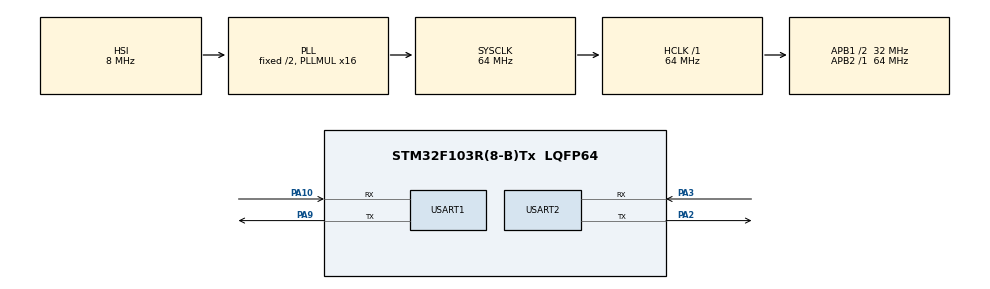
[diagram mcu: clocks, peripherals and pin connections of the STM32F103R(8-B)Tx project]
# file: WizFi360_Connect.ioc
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Mcu.Family=STM32F1
Mcu.Name=STM32F103R(8-B)Tx
Mcu.Package=LQFP64
NVIC.PriorityGroup=NVIC_PRIORITYGROUP_4
NVIC.USART1_IRQn=true\:0\:0\:false\:false\:true\:true\:true
NVIC.USART2_IRQn=true\:0\:0\:false\:false\:true\:true\:true
PA10.Mode=Asynchronous
PA10.Signal=USART1_RX
PA13.Mode=Serial_Wire
PA13.Signal=SYS_JTMS-SWDIO
PA14.Mode=Serial_Wire
PA14.Signal=SYS_JTCK-SWCLK
PA2.Mode=Asynchronous
PA2.Signal=USART2_TX
PA3.Mode=Asynchronous
PA3.Signal=USART2_RX
PA9.Mode=Asynchronous
PA9.Signal=USART1_TX
ProjectManager.HeapSize=0x200
ProjectManager.StackSize=0x400
ProjectManager.TargetToolchain=TrueSTUDIO
RCC.AHBFreq_Value=64000000
RCC.APB1CLKDivider=RCC_HCLK_DIV2
RCC.APB1Freq_Value=32000000
RCC.APB1TimFreq_Value=64000000
RCC.APB2Freq_Value=64000000
RCC.APB2TimFreq_Value=64000000
RCC.HCLKFreq_Value=64000000
RCC.PLLMUL=RCC_PLL_MUL16
RCC.SYSCLKFreq_VALUE=64000000
RCC.SYSCLKSource=RCC_SYSCLKSOURCE_PLLCLK
RCC.USBFreq_Value=64000000
USART1.VirtualMode=VM_ASYNC
USART2.VirtualMode=VM_ASYNC
board=custom

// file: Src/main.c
/* USER CODE BEGIN Header */
/**
  ******************************************************************************
  * @file           : main.c
  * @brief          : Main program body
  ******************************************************************************
  * @attention
  *
  * <h2><center>&copy; Copyright (c) 2019 STMicroelectronics.
  * All rights reserved.</center></h2>
  *
  * This software component is licensed by ST under BSD 3-Clause license,
  * the "License"; You may not use this file except in compliance with the
  * License. You may obtain a copy of the License at:
  *                        opensource.org/licenses/BSD-3-Clause
  *
  ******************************************************************************
  */
/* USER CODE END Header */

#include "main.h"

/* USER CODE BEGIN Includes */
#include "string.h"
#include "at_proc.h"
/* USER CODE END Includes */

UART_HandleTypeDef huart1;
UART_HandleTypeDef huart2;

void SystemClock_Config(void);
static void MX_GPIO_Init(void);
static void MX_USART1_UART_Init(void);
static void MX_USART2_UART_Init(void);
/* USER CODE BEGIN PFP */
uint8_t rxData;
//struct us_data US_2;
int _write(int fd, char *str, int len)
{
	for(int i=0; i<len; i++)
	{
		HAL_UART_Transmit(&huart2, (uint8_t *)&str[i], 1, 0xFFFF);
	}
	return len;
}

#if 0
void HAL_UART_RxCpltCallback(UART_HandleTypeDef *huart) {

    /*
        This will be called once data is received successfully,
        via interrupts.
    */

     /*
       loop back received data
     */

	if(huart->Instance == USART2)
	{
		HAL_UART_Receive_IT(&huart2, &rxData, 1);
		US_2.RX_Buffer[US_2.index++] = rxData;
		//HAL_UART_Transmit(&huart2, (uint8_t *)&rxData, 1, 0xFFFF);
		if(rxData == '\r')
		{
			US_2.flag = 1;
		}
	}
	else
	{
		//Not Valid port
	}

}
#endif
void send_U_message(uint8_t *data, uint16_t len)
{
  HAL_UART_Transmit(&huart1, data, len, 0xFFFF);
}
/* USER CODE END PFP */

int main(void)
{
  /* USER CODE BEGIN 1 */
	uint8_t main_seq = 0;
  uint8_t mode = 0, send_flag = 0, data_len;
  /* USER CODE END 1 */

  /* MCU Configuration--------------------------------------------------------*/

  /* Reset of all peripherals, Initializes the Flash interface and the Systick. */
  HAL_Init();

  /* Configure the system clock */
  SystemClock_Config();

  /* Initialize all configured peripherals */
  MX_GPIO_Init();
  MX_USART1_UART_Init();
  MX_USART2_UART_Init();
  /* USER CODE BEGIN 2 */
  HAL_UART_Receive_IT(&huart1, &rxData, 1);
  HAL_UART_Receive_IT(&huart2, &rxData, 1);
  //memset(&US_2, 0, sizeof(US_2));
  init_U2_data();
  printf("Hello !!\r\n");
  /* USER CODE END 2 */

  /* Infinite loop */
  /* USER CODE BEGIN WHILE */
  while (1)
  {
#if 0
	  if(US_2.flag)
	  {
		  HAL_UART_Transmit(&huart2, (uint8_t *)US_2.RX_Buffer, US_2.index, 0xFFFF);
		  printf("index : %d %s \r\n", US_2.index, US_2.RX_Buffer);
		  //memset(&US_2, 0, sizeof(US_2));
      send_flag = 1;
      US_2.flag = 0;
	  }
#endif
    //AT_Connect_Proc();
    switch(main_seq)
    {
      case 0:
        if(AT_AirKiss_Proc())
          main_seq++;
      break;
      case 1:
      #if 1 //test
    	  U2_flag();
      #endif
#if 0
      if(send_flag)
      {
        if()
        {
          US_2.index = 0;
          send_flag = 0;
        }
      }
      else
        data_Proc(0, 0, US_2.index, (uint8_t *)US_2.RX_Buffer);
#endif
      break;
      default :
      break;
    }

    /* USER CODE END WHILE */

  }
}

void SystemClock_Config(void)
{
  RCC_OscInitTypeDef RCC_OscInitStruct = {0};
  RCC_ClkInitTypeDef RCC_ClkInitStruct = {0};

  /** Initializes the CPU, AHB and APB busses clocks
  */
  RCC_OscInitStruct.OscillatorType = RCC_OSCILLATORTYPE_HSI;
  RCC_OscInitStruct.HSIState = RCC_HSI_ON;
  RCC_OscInitStruct.HSICalibrationValue = RCC_HSICALIBRATION_DEFAULT;
  RCC_OscInitStruct.PLL.PLLState = RCC_PLL_ON;
  RCC_OscInitStruct.PLL.PLLSource = RCC_PLLSOURCE_HSI_DIV2;
  RCC_OscInitStruct.PLL.PLLMUL = RCC_PLL_MUL16;
  if (HAL_RCC_OscConfig(&RCC_OscInitStruct) != HAL_OK)
  {
    Error_Handler();
  }
  /** Initializes the CPU, AHB and APB busses clocks
  */
  RCC_ClkInitStruct.ClockType = RCC_CLOCKTYPE_HCLK|RCC_CLOCKTYPE_SYSCLK
                              |RCC_CLOCKTYPE_PCLK1|RCC_CLOCKTYPE_PCLK2;
  RCC_ClkInitStruct.SYSCLKSource = RCC_SYSCLKSOURCE_PLLCLK;
  RCC_ClkInitStruct.AHBCLKDivider = RCC_SYSCLK_DIV1;
  RCC_ClkInitStruct.APB1CLKDivider = RCC_HCLK_DIV2;
  RCC_ClkInitStruct.APB2CLKDivider = RCC_HCLK_DIV1;

  if (HAL_RCC_ClockConfig(&RCC_ClkInitStruct, FLASH_LATENCY_2) != HAL_OK)
  {
    Error_Handler();
  }
}

static void MX_USART1_UART_Init(void)
{

  huart1.Instance = USART1;
  huart1.Init.BaudRate = 115200;
  huart1.Init.WordLength = UART_WORDLENGTH_8B;
  huart1.Init.StopBits = UART_STOPBITS_1;
  huart1.Init.Parity = UART_PARITY_NONE;
  huart1.Init.Mode = UART_MODE_TX_RX;
  huart1.Init.HwFlowCtl = UART_HWCONTROL_NONE;
  huart1.Init.OverSampling = UART_OVERSAMPLING_16;
  if (HAL_UART_Init(&huart1) != HAL_OK)
  {
    Error_Handler();
  }

}

static void MX_USART2_UART_Init(void)
{

  huart2.Instance = USART2;
  huart2.Init.BaudRate = 115200;
  huart2.Init.WordLength = UART_WORDLENGTH_8B;
  huart2.Init.StopBits = UART_STOPBITS_1;
  huart2.Init.Parity = UART_PARITY_NONE;
  huart2.Init.Mode = UART_MODE_TX_RX;
  huart2.Init.HwFlowCtl = UART_HWCONTROL_NONE;
  huart2.Init.OverSampling = UART_OVERSAMPLING_16;
  if (HAL_UART_Init(&huart2) != HAL_OK)
  {
    Error_Handler();
  }

}

static void MX_GPIO_Init(void)
{

  /* GPIO Ports Clock Enable */
  __HAL_RCC_GPIOA_CLK_ENABLE();

}

void Error_Handler(void)
{
}

/************************ (C) COPYRIGHT STMicroelectronics *****END OF FILE****/
